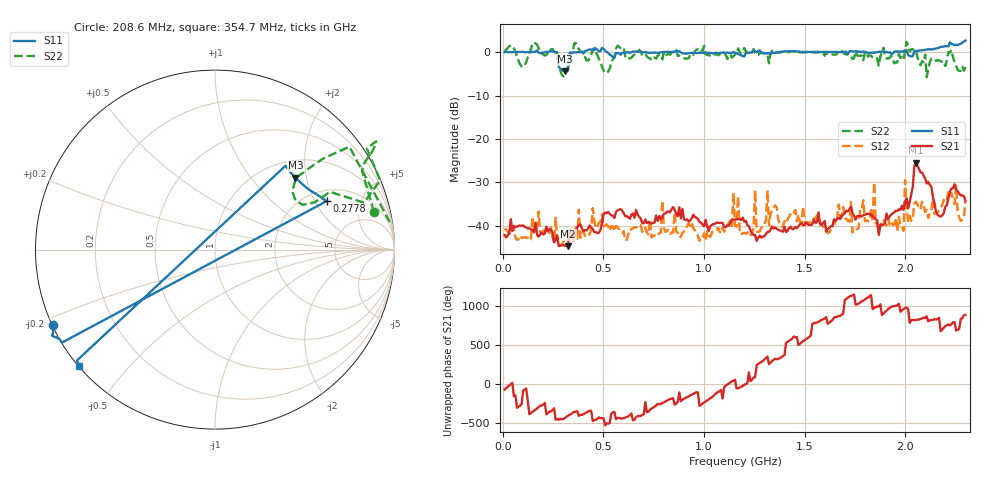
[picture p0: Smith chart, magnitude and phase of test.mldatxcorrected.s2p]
# Hz S DB R 50.000000
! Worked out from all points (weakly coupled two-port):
!   299 points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, 8.689 MHz to 2.3 GHz, reference 50 ohm
!   highest |S21| = -25.51 dB at 2.054 GHz (marker M1); lowest = -44.7 dB at 323.9 MHz (marker M2)
!   lowest |S11| = -4.4 dB at 308.6 MHz (marker M3), VSWR 4.01, Z = 68.6 + j86.1 ohm
!   |S11| at or under -10 dB: nowhere
!   |S22| runs from -5.8 to 2.4 dB; largest |S21 - S12| = 0.067
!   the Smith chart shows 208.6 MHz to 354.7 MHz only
!   S11 on the Smith chart (normalised r, x): 208.6 MHz: 0.00, -0.22; 277.8 MHz: 2.50, +2.50; 354.7 MHz: 0.00, -0.37
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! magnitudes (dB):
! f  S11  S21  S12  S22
! 8.689 MHz  0.0  -42.1  -40.6  0.2
! 208.6 MHz  0.0  -41.8  -41.1  -0.8
! 277.8 MHz  -3.4  -44.7  -43.0  -2.9
! 308.6 MHz  -4.4  -44.6  -43.2  -5.4
! 323.9 MHz  -4.3  -44.7  -42.9  -3.4
! 354.7 MHz  0.0  -42.4  -43.1  2.0
! 393.1 MHz  0.1  -40.6  -42.3  0.1
! 777.6 MHz  -0.1  -37.8  -41.8  -0.6
! 1.147 GHz  0.0  -38.6  -32.4  -0.9
! 1.162 GHz  -0.2  -38.5  -40.2  -0.3
! 1.239 GHz  0.0  -41.7  -41.8  -0.1
! 1.254 GHz  0.2  -42.1  -31.9  -0.2
! 1.262 GHz  0.0  -43.5  -41.3  -0.7
! 1.316 GHz  -0.3  -41.4  -31.8  -0.4
! 1.539 GHz  0.0  -39.7  -39.4  0.0
! 1.839 GHz  -0.1  -37.8  -39.0  -1.2
! 1.846 GHz  -0.1  -38.2  -30.1  -1.4
! 1.869 GHz  0.1  -42.1  -41.5  -3.1
! 1.923 GHz  0.0  -37.9  -39.8  -1.3
! 2.054 GHz  0.3  -25.5  -34.5  0.6
! 2.169 GHz  1.0  -37.8  -36.5  -1.9
! 2.3 GHz  2.7  -34.2  -34.4  -3.4
